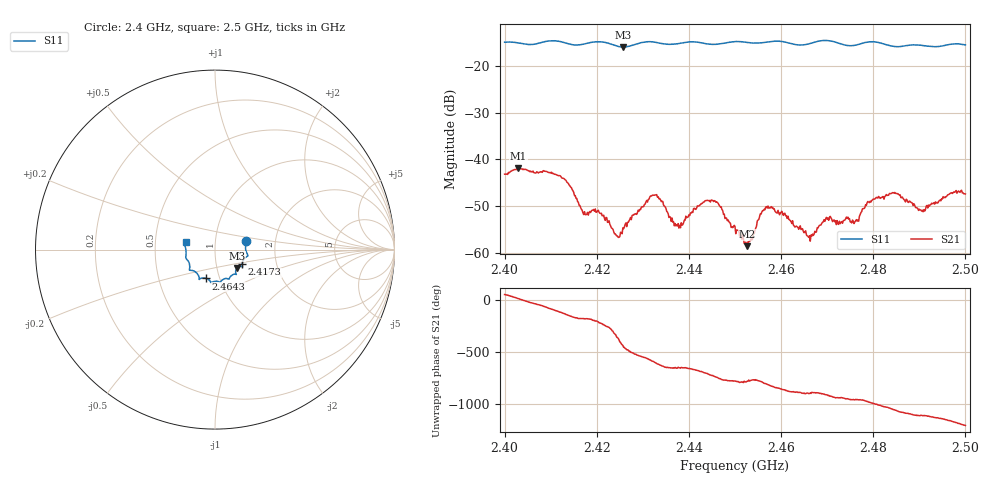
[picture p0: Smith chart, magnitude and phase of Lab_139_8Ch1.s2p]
# Hz S RI R 50
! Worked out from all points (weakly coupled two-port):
!   601 points, 2.4 GHz to 2.5 GHz, reference 50 ohm
!   highest |S21| = -41.85 dB at 2.403 GHz (marker M1); lowest = -58.6 dB at 2.4527 GHz (marker M2)
!   lowest |S11| = -15.9 dB at 2.4257 GHz (marker M3), VSWR 1.38, Z = 62.5 - j13.1 ohm
!   |S11| at or under -10 dB: start of sweep to end of sweep
!   S12 and S22 are empty: the file has one direction only
!   S11 on the Smith chart (normalised r, x): 2.4 GHz: 1.41, +0.14; 2.4173 GHz: 1.34, -0.23; 2.4643 GHz: 0.86, -0.28; 2.5 GHz: 0.72, +0.06
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2.4e9  0.1733 0.0493  0.00455 0.00524  0 0  0 0
2.403e9  0.174 0.0344  0.00796 0.00138  0 0  0 0
2.412333e9  0.1782 -0.038  -0.00348 -0.00536  0 0  0 0
2.416667e9  0.1529 -0.0748  -0.00292 6.85e-05  0 0  0 0
2.417333e9  0.1522 -0.0822  -0.00275 0.000136  0 0  0 0
2.4205e9  0.1543 -0.097  -0.00204 0.00178  0 0  0 0
2.4245e9  0.1322 -0.0958  0.0015 -0.00011  0 0  0 0
2.425667e9  0.1229 -0.1023  0.000401 -0.0018  0 0  0 0
2.433333e9  0.1128 -0.1371  -0.000957 0.00386  0 0  0 0
2.437333e9  0.0854 -0.1505  0.000874 0.0018  0 0  0 0
2.444667e9  0.0582 -0.1612  0.00349 -6.42e-06  0 0  0 0
2.45e9  0.0294 -0.1807  0.00103 -0.0016  0 0  0 0
2.452667e9  0.0193 -0.1781  0.0006 -0.00101  0 0  0 0
2.457167e9  -0.0146 -0.1811  -0.000165 -0.00315  0 0  0 0
2.464333e9  -0.0498 -0.1606  -0.00174 -0.000332  0 0  0 0
2.466667e9  -0.0758 -0.1596  -0.00146 -0.000371  0 0  0 0
2.470167e9  -0.0876 -0.1658  -0.00226 0.000653  0 0  0 0
2.476333e9  -0.1197 -0.1183  -0.00126 0.00187  0 0  0 0
2.478833e9  -0.1397 -0.1153  -0.000995 0.0034  0 0  0 0
2.483333e9  -0.1406 -0.09  0.0029 0.00294  0 0  0 0
2.490667e9  -0.1622 -0.037  0.0025 -0.00137  0 0  0 0
2.5e9  -0.1635 0.0418  -0.0023 -0.00359  0 0  0 0
